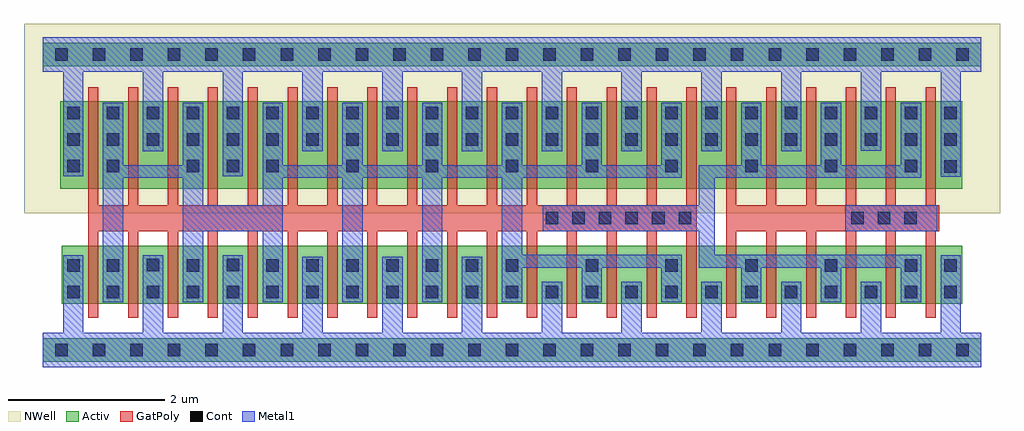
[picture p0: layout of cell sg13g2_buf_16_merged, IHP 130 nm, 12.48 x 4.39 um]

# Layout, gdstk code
import gdstk
lib = gdstk.Library(unit=1e-6, precision=1e-09)
def R(c, l, rs):  # rectangles x0, y0, x1, y1
    for r in rs: c.add(gdstk.rectangle(r[:2], r[2:], *l))
def A(c, l, x, y, w, h, nx, ny, dx, dy):  # array of equal rectangles
    R(c, l, [(x+i*dx, y+j*dy, x+i*dx+w, y+j*dy+h) for i in range(nx) for j in range(ny)])
def P(c, l, *ps):  # polygons
    for p in ps: c.add(gdstk.Polygon(p, *l))
Activ = (1, 0)
GatPoly = (5, 0)
Cont = (6, 0)
Metal1 = (8, 0)
NWell = (31, 0)

sg13g2_buf_16_merged = lib.new_cell('sg13g2_buf_16_merged')
R(sg13g2_buf_16_merged, Activ, [(0,-0.15,12,0.15), (0.24,0.59,11.76,1.33), (0.225,2.06,11.76,3.18), (0,3.63,12,3.93)])
P(sg13g2_buf_16_merged, GatPoly, [(0.58,0.41),(0.58,3.36),(0.71,3.36),(0.71,1.85),(1.09,1.85),(1.09,3.36),(1.22,3.36),(1.22,1.85),(1.6,1.85),(1.6,3.36),(1.73,3.36),(1.73,1.85),(2.11,1.85),(2.11,3.36),(2.24,3.36),(2.24,1.85),(2.62,1.85),(2.62,3.36),(2.75,3.36),(2.75,1.85),(3.13,1.85),(3.13,3.36),(3.26,3.36),(3.26,1.85),(3.64,1.85),(3.64,3.36),(3.77,3.36),(3.77,1.85),(4.15,1.85),(4.15,3.36),(4.28,3.36),(4.28,1.85),(4.66,1.85),(4.66,3.36),(4.79,3.36),(4.79,1.85),(5.17,1.85),(5.17,3.36),(5.3,3.36),(5.3,1.85),(5.68,1.85),(5.68,3.36),(5.81,3.36),(5.81,1.85),(6.19,1.85),(6.19,3.36),(6.32,3.36),(6.32,1.85),(6.7,1.85),(6.7,3.36),(6.83,3.36),(6.83,1.85),(7.21,1.85),(7.21,3.36),(7.34,3.36),(7.34,1.85),(7.72,1.85),(7.72,3.36),(7.85,3.36),(7.85,1.85),(8.23,1.85),(8.23,3.36),(8.36,3.36),(8.36,0.41),(8.23,0.41),(8.23,1.52),(7.85,1.52),(7.85,0.41),(7.72,0.41),(7.72,1.52),(7.34,1.52),(7.34,0.41),(7.21,0.41),(7.21,1.52),(6.83,1.52),(6.83,0.41),(6.7,0.41),(6.7,1.52),(6.32,1.52),(6.32,0.41),(6.19,0.41),(6.19,1.52),(5.81,1.52),(5.81,0.41),(5.68,0.41),(5.68,1.52),(5.3,1.52),(5.3,0.41),(5.17,0.41),(5.17,1.52),(4.79,1.52),(4.79,0.41),(4.66,0.41),(4.66,1.52),(4.28,1.52),(4.28,0.41),(4.15,0.41),(4.15,1.52),(3.77,1.52),(3.77,0.41),(3.64,0.41),(3.64,1.52),(3.26,1.52),(3.26,0.41),(3.13,0.41),(3.13,1.52),(2.75,1.52),(2.75,0.41),(2.62,0.41),(2.62,1.52),(2.24,1.52),(2.24,0.41),(2.11,0.41),(2.11,1.52),(1.73,1.52),(1.73,0.41),(1.6,0.41),(1.6,1.52),(1.22,1.52),(1.22,0.41),(1.09,0.41),(1.09,1.52),(0.71,1.52),(0.71,0.41)],
  [(8.74,0.41),(8.74,3.36),(8.87,3.36),(8.87,1.85),(9.25,1.85),(9.25,3.36),(9.38,3.36),(9.38,1.85),(9.76,1.85),(9.76,3.36),(9.89,3.36),(9.89,1.85),(10.27,1.85),(10.27,3.36),(10.4,3.36),(10.4,1.85),(10.78,1.85),(10.78,3.36),(10.91,3.36),(10.91,1.85),(11.29,1.85),(11.29,3.36),(11.42,3.36),(11.42,1.85),(11.46,1.85),(11.46,1.52),(11.42,1.52),(11.42,0.41),(11.29,0.41),(11.29,1.52),(10.91,1.52),(10.91,0.41),(10.78,0.41),(10.78,1.52),(10.4,1.52),(10.4,0.41),(10.27,0.41),(10.27,1.52),(9.89,1.52),(9.89,0.41),(9.76,0.41),(9.76,1.52),(9.38,1.52),(9.38,0.41),(9.25,0.41),(9.25,1.52),(8.87,1.52),(8.87,0.41)])
A(sg13g2_buf_16_merged, Cont, 0.16, -0.08, 0.16, 0.16, 25, 2, 0.48, 3.78)
A(sg13g2_buf_16_merged, Cont, 0.31, 0.66, 0.16, 0.16, 23, 2, 0.51, 1.95)
A(sg13g2_buf_16_merged, Cont, 0.82, 1, 0.16, 0.16, 3, 1, 1.02, 0)
A(sg13g2_buf_16_merged, Cont, 3.37, 1, 0.16, 0.16, 6, 1, 0.51, 0)
A(sg13g2_buf_16_merged, Cont, 6.94, 1, 0.16, 0.16, 5, 1, 1.02, 0)
A(sg13g2_buf_16_merged, Cont, 6.43, 1.605, 0.16, 0.16, 6, 1, 0.34, 0)
A(sg13g2_buf_16_merged, Cont, 10.335, 1.605, 0.16, 0.16, 3, 1, 0.34, 0)
A(sg13g2_buf_16_merged, Cont, 1.84, 2.27, 0.16, 0.16, 3, 1, 0.51, 0)
A(sg13g2_buf_16_merged, Cont, 3.88, 2.27, 0.16, 0.16, 8, 1, 1.02, 0)
A(sg13g2_buf_16_merged, Cont, 0.31, 2.95, 0.16, 0.16, 23, 1, 0.51, 0)
R(sg13g2_buf_16_merged, Cont, [(0.31,1,0.47,1.16), (11.53,1,11.69,1.16), (1.33,1.005,1.49,1.165), (2.35,1.005,2.51,1.165), (11.53,2.265,11.69,2.425), (0.31,2.27,0.47,2.43), (0.82,2.27,0.98,2.43)])
R(sg13g2_buf_16_merged, Metal1, [(10.26,1.52,11.44,1.85)])
P(sg13g2_buf_16_merged, Metal1, [(0,-0.22),(0,0.22),(0.26,0.22),(0.26,1.21),(0.52,1.21),(0.52,0.22),(1.28,0.22),(1.28,1.21),(1.54,1.21),(1.54,0.22),(2.3,0.22),(2.3,1.21),(2.56,1.21),(2.56,0.22),(3.32,0.22),(3.32,1.195),(3.58,1.195),(3.58,0.22),(4.34,0.22),(4.34,1.195),(4.6,1.195),(4.6,0.22),(5.36,0.22),(5.36,1.195),(5.62,1.195),(5.62,0.22),(6.38,0.22),(6.38,0.87),(6.64,0.87),(6.64,0.22),(7.4,0.22),(7.4,0.87),(7.66,0.87),(7.66,0.22),(8.42,0.22),(8.42,0.87),(8.685,0.87),(8.685,0.22),(9.44,0.22),(9.44,0.87),(9.7,0.87),(9.7,0.22),(10.46,0.22),(10.46,0.87),(10.72,0.87),(10.72,0.22),(11.48,0.22),(11.48,1.21),(11.74,1.21),(11.74,0.22),(12,0.22),(12,-0.22)],
  [(0.77,0.61),(0.77,3.16),(1.03,3.16),(1.03,2.36),(1.79,2.36),(1.79,3.16),(2.05,3.16),(2.05,1.85),(2.81,1.85),(2.81,3.16),(3.07,3.16),(3.07,2.36),(3.83,2.36),(3.83,3.16),(4.09,3.16),(4.09,2.36),(4.85,2.36),(4.85,3.16),(5.11,3.16),(5.11,2.36),(5.87,2.36),(5.87,3.16),(6.13,3.16),(6.13,2.36),(6.89,2.36),(6.89,3.16),(7.15,3.16),(7.15,2.36),(7.91,2.36),(7.91,3.16),(8.17,3.16),(8.17,2.2),(6.13,2.2),(6.13,1.22),(8.17,1.22),(8.17,0.61),(7.91,0.61),(7.91,1.05),(7.15,1.05),(7.15,0.61),(6.89,0.61),(6.89,1.05),(6.13,1.05),(6.13,0.61),(5.87,0.61),(5.87,2.2),(5.11,2.2),(5.11,0.61),(4.85,0.61),(4.85,2.2),(4.09,2.2),(4.09,0.61),(3.83,0.61),(3.83,2.2),(3.07,2.2),(3.07,0.61),(2.81,0.61),(2.81,1.52),(2.05,1.52),(2.05,0.61),(1.79,0.61),(1.79,2.2),(1.03,2.2),(1.03,0.61)],
  [(8.93,0.61),(8.93,1.05),(8.385,1.05),(8.385,1.52),(6.395,1.52),(6.395,1.85),(8.385,1.85),(8.385,2.36),(8.93,2.36),(8.93,3.16),(9.19,3.16),(9.19,2.36),(9.95,2.36),(9.95,3.16),(10.21,3.16),(10.21,2.36),(10.97,2.36),(10.97,3.16),(11.23,3.16),(11.23,2.2),(8.595,2.2),(8.595,1.22),(11.23,1.22),(11.23,0.61),(10.97,0.61),(10.97,1.05),(10.21,1.05),(10.21,0.61),(9.95,0.61),(9.95,1.05),(9.19,1.05),(9.19,0.61)],
  [(11.48,2.215),(11.48,3.56),(10.72,3.56),(10.72,2.545),(10.46,2.545),(10.46,3.56),(9.7,3.56),(9.7,2.54),(9.44,2.54),(9.44,3.56),(8.68,3.56),(8.68,2.54),(8.42,2.54),(8.42,3.56),(7.66,3.56),(7.66,2.54),(7.4,2.54),(7.4,3.56),(6.64,3.56),(6.64,2.54),(6.38,2.54),(6.38,3.56),(5.62,3.56),(5.62,2.54),(5.36,2.54),(5.36,3.56),(4.6,3.56),(4.6,2.54),(4.34,2.54),(4.34,3.56),(3.58,3.56),(3.58,2.54),(3.32,2.54),(3.32,3.56),(2.56,3.56),(2.56,2.22),(2.3,2.22),(2.3,3.56),(1.54,3.56),(1.54,2.54),(1.28,2.54),(1.28,3.56),(0.52,3.56),(0.52,2.22),(0.26,2.22),(0.26,3.56),(0,3.56),(0,4),(12,4),(12,3.56),(11.74,3.56),(11.74,2.215)])
R(sg13g2_buf_16_merged, NWell, [(-0.24,1.75,12.24,4.17)])

lib.write_gds('sg13g2_buf_16_merged.gds')
